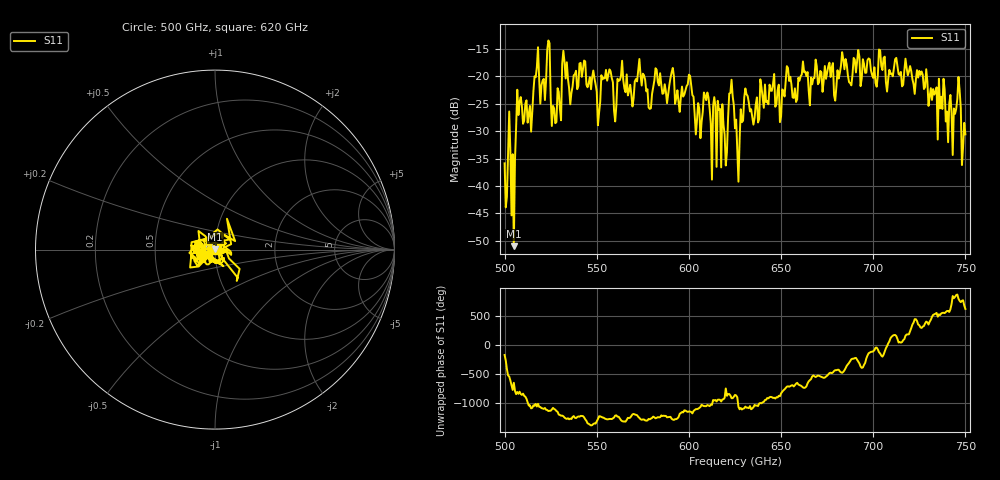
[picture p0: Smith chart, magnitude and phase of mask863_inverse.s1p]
!Created with skrf (http://scikit-rf.org).
# GHz S MA R 50.0
!freq magS11 angS11
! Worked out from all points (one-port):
!   401 points, 500 GHz to 750 GHz, reference 50 ohm
!   lowest |S11| = -51.0 dB at 505 GHz (marker M1), VSWR 1.01, Z = 50.1 + j0.267 ohm
!   |S11| at or under -10 dB: start of sweep to end of sweep
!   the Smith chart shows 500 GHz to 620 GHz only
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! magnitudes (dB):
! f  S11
! 500 GHz  -35.9
! 503.1 GHz  -33.6
! 505 GHz  -51.0
! 508.1 GHz  -24.6
! 513.8 GHz  -25.4
! 516.9 GHz  -20.2
! 520.6 GHz  -20.8
! 523.8 GHz  -13.5
! 526.9 GHz  -25.9
! 531.2 GHz  -17.7
! 542.5 GHz  -18.7
! 550.6 GHz  -28.9
! 562.5 GHz  -20.7
! 593.8 GHz  -22.5
! 600 GHz  -19.7
! 605 GHz  -24.9
! 609.4 GHz  -24.3
! 618.8 GHz  -28.8
! 623.1 GHz  -20.6
! 625 GHz  -29.5
! 626.2 GHz  -33.4
! 631.2 GHz  -23.3
! 656.2 GHz  -23.8
! 687.5 GHz  -21.2
! 718.8 GHz  -19.8
! 741.9 GHz  -23.4
! 746.2 GHz  -20.1
! 750 GHz  -30.6
